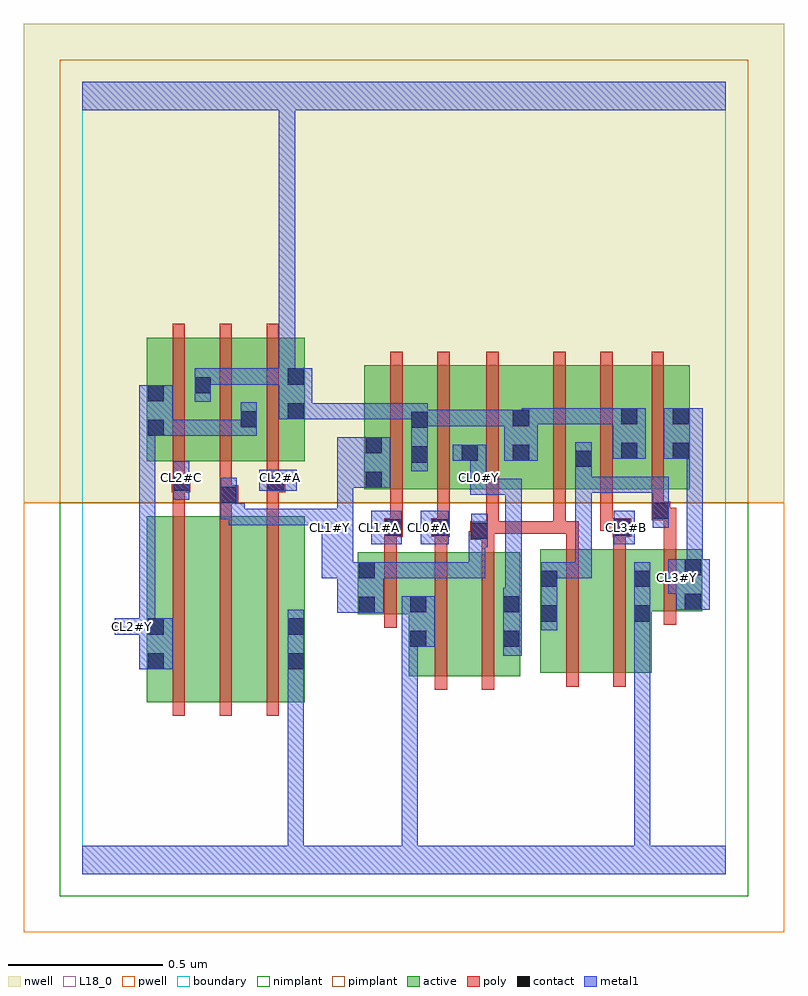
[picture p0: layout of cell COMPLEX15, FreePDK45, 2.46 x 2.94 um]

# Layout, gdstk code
import gdstk
lib = gdstk.Library(unit=1e-6, precision=1e-09)
def R(c, l, rs):  # rectangles x0, y0, x1, y1
    for r in rs: c.add(gdstk.rectangle(r[:2], r[2:], *l))
def A(c, l, x, y, w, h, nx, ny, dx, dy):  # array of equal rectangles
    R(c, l, [(x+i*dx, y+j*dy, x+i*dx+w, y+j*dy+h) for i in range(nx) for j in range(ny)])
active = (1, 0)
pwell = (2, 0)
nwell = (3, 0)
nimplant = (4, 0)
pimplant = (5, 0)
poly = (9, 0)
contact = (10, 0)
metal1 = (11, 0)
L18_0 = (18, 0)
boundary = (235, 0)

complex15 = lib.new_cell('COMPLEX15')
R(complex15, active, [(0.208,0.556,0.268,1.156), (0.208,0.556,0.388,1.156), (0.388,0.556,0.54,1.156), (0.54,0.556,0.72,1.156), (0.66,0.556,0.72,1.156), (1.056,0.64,1.116,1.04), (1.056,0.64,1.236,1.04), (1.236,0.64,1.416,1.04), (1.356,0.64,1.416,1.04), (1.48,0.65,1.66,1.05), (1.66,0.65,1.84,1.05), (1.78,0.65,1.84,1.05), (1.48,0.756,1.54,1.05), (0.89,0.84,0.95,1.04), (0.89,0.84,1.116,1.04), (1.78,0.85,2.004,1.05), (1.944,0.85,2.004,1.05), (0.912,1.244,0.972,1.644), (0.912,1.244,1.12,1.644), (1.06,1.244,1.282,1.644), (1.222,1.244,1.448,1.644), (1.388,1.244,1.65,1.644), (1.59,1.244,1.798,1.644), (1.738,1.244,1.964,1.644), (1.904,1.244,1.964,1.644), (1.59,1.312,1.65,1.644), (1.388,1.316,1.448,1.644), (1.06,1.326,1.12,1.644), (1.222,1.332,1.282,1.644), (0.208,1.334,0.268,1.644), (0.208,1.334,0.42,1.734), (0.36,1.334,0.568,1.734), (0.508,1.334,0.72,1.734), (0.66,1.334,0.72,1.644), (1.738,1.338,1.798,1.644), (0.508,1.44,0.568,1.644), (0.36,1.55,0.42,1.644)])
R(complex15, pwell, [(-0.188,-0.188,2.268,1.2)])
R(complex15, nwell, [(-0.188,1.2,2.268,2.748)])
R(complex15, nimplant, [(-0.072,-0.072,2.152,1.2)])
R(complex15, pimplant, [(-0.072,1.2,2.152,2.632)])
A(complex15, poly, 0.292, 0.512, 0.04, 0.688, 3, 1, 0.152, 0)
A(complex15, poly, 0.292, 1.29, 0.04, 0.488, 3, 1, 0.152, 0)
R(complex15, poly, [(1.14,0.596,1.18,1.084), (1.292,0.596,1.332,1.084), (1.564,0.606,1.604,1.094), (1.716,0.606,1.756,1.094), (0.976,0.796,1.016,1.084), (1.88,0.806,1.92,1.094), (0.976,1.044,1.016,1.13), (1.14,1.044,1.18,1.13), (1.292,1.044,1.332,1.12), (1.564,1.054,1.604,1.14), (1.716,1.054,1.756,1.13), (1.88,1.054,1.92,1.184), (1.254,1.08,1.332,1.14), (0.976,1.09,1.016,1.13), (0.976,1.09,1.016,1.13), (0.976,1.09,1.036,1.15), (1.128,1.09,1.188,1.15), (1.14,1.09,1.18,1.13), (1.14,1.09,1.18,1.13), (1.714,1.09,1.774,1.15), (1.292,1.1,1.332,1.14), (1.292,1.1,1.346,1.14), (1.306,1.1,1.346,1.14), (1.306,1.1,1.346,1.14), (1.306,1.1,1.346,1.24), (1.306,1.1,1.562,1.14), (1.522,1.1,1.562,1.14), (1.522,1.1,1.562,1.14), (1.522,1.1,1.562,1.14), (1.522,1.1,1.562,1.14), (1.522,1.1,1.562,1.24), (1.522,1.1,1.604,1.14), (0.996,1.11,1.036,1.24), (1.148,1.11,1.188,1.24), (1.674,1.11,1.714,1.24), (1.674,1.11,1.754,1.15), (1.714,1.11,1.754,1.15), (1.84,1.144,1.9,1.204), (1.86,1.144,1.9,1.184), (1.86,1.144,1.92,1.184), (0.292,1.16,0.332,1.274), (0.444,1.16,0.484,1.236), (0.596,1.16,0.636,1.274), (1.84,1.164,1.88,1.24), (0.444,1.196,0.504,1.256), (0.996,1.2,1.036,1.688), (1.148,1.2,1.188,1.688), (1.306,1.2,1.346,1.688), (1.522,1.2,1.562,1.688), (1.674,1.2,1.714,1.688), (1.84,1.2,1.88,1.688), (0.444,1.216,0.484,1.256), (0.444,1.216,0.484,1.256), (0.444,1.216,0.484,1.33), (0.29,1.234,0.35,1.294), (0.596,1.234,0.636,1.274), (0.596,1.234,0.636,1.274), (0.596,1.234,0.656,1.294), (0.292,1.254,0.332,1.33), (0.292,1.254,0.332,1.294), (0.292,1.254,0.332,1.294), (0.596,1.254,0.636,1.33)])
R(complex15, contact, [(0.212,0.662,0.264,0.714), (0.664,0.662,0.716,0.714), (1.06,0.734,1.112,0.786), (1.36,0.734,1.412,0.786), (0.212,0.774,0.264,0.826), (0.664,0.774,0.716,0.826), (1.484,0.816,1.536,0.868), (1.784,0.816,1.836,0.868), (0.894,0.844,0.946,0.896), (1.06,0.846,1.112,0.898), (1.36,0.846,1.412,0.898), (1.948,0.854,2,0.906), (1.484,0.928,1.536,0.98), (1.784,0.928,1.836,0.98), (0.894,0.956,0.946,1.008), (1.948,0.966,2,1.018), (1.258,1.084,1.31,1.136), (0.98,1.094,1.032,1.146), (1.132,1.094,1.184,1.146), (1.718,1.094,1.77,1.146), (1.844,1.148,1.896,1.2), (0.448,1.2,0.5,1.252), (0.294,1.238,0.346,1.29), (0.6,1.238,0.652,1.29), (0.916,1.248,0.968,1.3), (1.594,1.316,1.646,1.368), (1.064,1.33,1.116,1.382), (1.226,1.336,1.278,1.388), (1.392,1.336,1.444,1.388), (1.742,1.342,1.794,1.394), (1.908,1.342,1.96,1.394), (0.916,1.36,0.968,1.412), (0.212,1.416,0.264,1.468), (1.064,1.442,1.116,1.494), (0.512,1.444,0.564,1.496), (1.392,1.448,1.444,1.5), (1.742,1.454,1.794,1.506), (1.908,1.454,1.96,1.506), (0.664,1.47,0.716,1.522), (0.212,1.528,0.264,1.58), (0.364,1.554,0.416,1.606), (0.664,1.582,0.716,1.634)])
R(complex15, metal1, [(0,0,2.08,0.092), (0.664,0.04,0.716,0.092), (0.664,0.04,0.716,0.092), (0.664,0.04,0.716,0.092), (0.664,0.04,0.716,0.092), (0.664,0.04,0.716,0.092), (0.664,0.04,0.716,0.092), (0.664,0.04,0.716,0.092), (0.664,0.04,0.716,0.092), (0.664,0.04,0.716,0.686), (1.032,0.04,1.084,0.092), (1.032,0.04,1.084,0.092), (1.032,0.04,1.084,0.092), (1.032,0.04,1.084,0.092), (1.032,0.04,1.084,0.092), (1.032,0.04,1.084,0.092), (1.032,0.04,1.084,0.092), (1.032,0.04,1.084,0.092), (1.032,0.04,1.084,0.092), (1.032,0.04,1.084,0.092), (1.032,0.04,1.084,0.786), (1.784,0.04,1.836,0.092), (1.784,0.04,1.836,0.092), (1.784,0.04,1.836,0.092), (1.784,0.04,1.836,0.092), (1.784,0.04,1.836,0.092), (1.784,0.04,1.836,0.092), (1.784,0.04,1.836,0.092), (1.784,0.04,1.836,0.092), (1.784,0.04,1.836,0.092), (1.784,0.04,1.836,0.092), (1.784,0.04,1.836,0.84), (0.664,0.634,0.716,0.854), (0.184,0.662,0.292,0.826), (1.36,0.706,1.42,0.926), (1.032,0.734,1.084,0.786), (1.032,0.734,1.084,0.786), (1.032,0.734,1.14,0.898), (0.106,0.774,0.236,0.826), (0.184,0.774,0.236,0.826), (0.184,0.774,0.236,0.826), (0.184,0.774,0.236,0.826), (0.184,0.774,0.236,1.468), (1.484,0.788,1.536,1.008), (1.784,0.788,1.836,0.84), (1.784,0.788,1.836,0.84), (1.784,0.788,1.836,1.008), (0.824,0.844,0.974,1.008), (1.92,0.854,2.028,1.018), (1.368,0.874,1.42,1.278), (1.894,0.906,2.006,1.018), (1.946,0.906,1.998,0.958), (0.774,0.956,0.876,1.18), (0.824,0.956,0.876,1.008), (0.824,0.956,0.876,1.008), (0.824,0.956,0.876,1.008), (0.824,0.956,1.14,1.008), (1.088,0.956,1.14,1.008), (1.088,0.956,1.14,1.008), (1.088,0.956,1.14,1.008), (1.088,0.956,1.302,1.008), (1.25,0.956,1.302,1.108), (1.484,0.956,1.536,1.008), (1.484,0.956,1.536,1.008), (1.484,0.956,1.646,1.008), (1.594,0.956,1.646,1.008), (1.594,0.956,1.646,1.008), (1.594,0.956,1.646,1.008), (1.594,0.956,1.646,1.284), (1.954,0.966,2.006,1.394), (1.954,0.966,2.006,1.018), (1.954,0.966,2.006,1.018), (1.25,1.056,1.31,1.108), (1.258,1.056,1.31,1.164), (0.934,1.066,1.032,1.174), (1.094,1.066,1.184,1.174), (1.718,1.066,1.786,1.174), (1.844,1.12,1.896,1.284), (0.474,1.128,0.636,1.18), (0.474,1.128,0.526,1.198), (0.584,1.128,0.636,1.18), (0.584,1.128,0.636,1.18), (0.584,1.128,0.636,1.18), (0.584,1.128,0.826,1.18), (0.824,1.128,0.876,1.18), (0.824,1.128,0.876,1.18), (0.824,1.128,0.876,1.3), (0.448,1.146,0.526,1.198), (0.448,1.146,0.5,1.28), (0.294,1.21,0.346,1.334), (1.254,1.226,1.306,1.278), (1.254,1.226,1.306,1.278), (1.254,1.226,1.306,1.334), (1.254,1.226,1.42,1.278), (1.368,1.226,1.42,1.278), (1.368,1.226,1.42,1.278), (1.368,1.226,1.42,1.278), (1.594,1.232,1.646,1.284), (1.594,1.232,1.766,1.284), (1.594,1.232,1.646,1.34), (1.714,1.232,1.766,1.284), (1.714,1.232,1.766,1.284), (1.714,1.232,1.766,1.284), (1.714,1.232,1.896,1.284), (0.572,1.238,0.694,1.306), (0.824,1.248,0.996,1.412), (1.254,1.282,1.306,1.388), (1.594,1.288,1.646,1.396), (1.064,1.302,1.116,1.522), (1.198,1.336,1.306,1.388), (1.364,1.336,1.472,1.5), (1.714,1.342,1.822,1.506), (1.88,1.342,2.006,1.506), (0.184,1.416,0.292,1.58), (0.24,1.416,0.292,1.468), (0.24,1.416,0.292,1.468), (0.24,1.416,0.402,1.468), (0.35,1.416,0.402,1.468), (0.35,1.416,0.402,1.468), (0.35,1.416,0.402,1.468), (0.35,1.416,0.564,1.468), (0.512,1.416,0.564,1.524), (1.064,1.448,1.116,1.5), (1.064,1.448,1.116,1.5), (1.064,1.448,1.302,1.5), (1.25,1.448,1.302,1.5), (1.25,1.448,1.302,1.5), (1.25,1.448,1.302,1.5), (1.25,1.448,1.416,1.5), (1.42,1.448,1.472,1.5), (1.42,1.448,1.472,1.506), (1.42,1.454,1.656,1.506), (1.604,1.454,1.656,1.506), (1.604,1.454,1.656,1.506), (1.604,1.454,1.656,1.506), (1.604,1.454,1.766,1.506), (1.714,1.454,1.766,1.506), (1.714,1.454,1.766,1.506), (0.636,1.47,0.744,1.634), (0.692,1.47,0.854,1.522), (0.802,1.47,0.854,1.522), (0.802,1.47,0.854,1.522), (0.802,1.47,0.854,1.522), (0.802,1.47,1.116,1.522), (0.364,1.526,0.416,1.634), (0.364,1.582,0.416,1.634), (0.364,1.582,0.416,1.634), (0.364,1.582,0.526,1.634), (0.474,1.582,0.526,1.634), (0.474,1.582,0.688,1.634), (0.636,1.582,0.688,1.634), (0.636,1.582,0.688,1.634), (0.636,1.582,0.688,1.634), (0.636,1.582,0.688,1.634), (0.636,1.582,0.688,1.634), (0.636,1.582,0.688,1.634), (0.636,1.582,0.688,1.634), (0.636,1.582,0.688,1.634), (0.636,1.582,0.688,1.634), (0.636,1.582,0.688,1.634), (0.636,1.582,0.688,1.634), (0.636,1.582,0.688,1.634), (0.636,1.582,0.688,1.634), (0.636,1.582,0.688,1.634), (0.636,1.582,0.688,1.634), (0.636,1.582,0.688,1.634), (0.636,1.582,0.688,1.634), (0.636,1.582,0.688,1.634), (0.636,1.582,0.688,2.52), (0,2.468,2.08,2.56)])
A(complex15, L18_0, 0.774, 1.094, 0.052, 0.052, 3, 1, 0.16, 0)
R(complex15, L18_0, [(0,0,2.08,0.092), (0.664,0.04,0.716,0.092), (0.664,0.04,0.716,0.092), (0.664,0.04,0.716,0.092), (0.664,0.04,0.716,0.092), (0.664,0.04,0.716,0.092), (0.664,0.04,0.716,0.092), (0.664,0.04,0.716,0.092), (0.664,0.04,0.716,0.092), (0.664,0.04,0.716,0.686), (1.032,0.04,1.084,0.092), (1.032,0.04,1.084,0.092), (1.032,0.04,1.084,0.092), (1.032,0.04,1.084,0.092), (1.032,0.04,1.084,0.092), (1.032,0.04,1.084,0.092), (1.032,0.04,1.084,0.092), (1.032,0.04,1.084,0.092), (1.032,0.04,1.084,0.092), (1.032,0.04,1.084,0.092), (1.032,0.04,1.084,0.786), (1.784,0.04,1.836,0.092), (1.784,0.04,1.836,0.092), (1.784,0.04,1.836,0.092), (1.784,0.04,1.836,0.092), (1.784,0.04,1.836,0.092), (1.784,0.04,1.836,0.092), (1.784,0.04,1.836,0.092), (1.784,0.04,1.836,0.092), (1.784,0.04,1.836,0.092), (1.784,0.04,1.836,0.092), (1.784,0.04,1.836,0.84), (0.664,0.634,0.716,0.854), (0.184,0.662,0.292,0.826), (1.36,0.706,1.42,0.926), (1.032,0.734,1.14,0.898), (1.032,0.734,1.084,0.786), (1.032,0.734,1.084,0.786), (0.106,0.774,0.236,0.826), (0.134,0.774,0.186,0.826), (0.184,0.774,0.236,0.826), (0.184,0.774,0.236,0.826), (0.184,0.774,0.236,0.826), (0.184,0.774,0.236,1.468), (1.784,0.788,1.836,0.84), (1.784,0.788,1.836,0.84), (1.784,0.788,1.836,1.008), (0.824,0.844,0.974,1.008), (1.92,0.854,2.028,1.018), (1.368,0.874,1.42,1.278), (1.894,0.906,2.006,1.018), (1.946,0.906,1.998,0.958), (1.894,0.934,1.946,0.986), (0.774,0.956,0.876,1.18), (0.824,0.956,0.876,1.008), (0.824,0.956,0.876,1.008), (0.824,0.956,0.876,1.008), (0.824,0.956,1.14,1.008), (1.088,0.956,1.14,1.008), (1.088,0.956,1.14,1.008), (1.088,0.956,1.14,1.008), (1.088,0.956,1.302,1.008), (1.25,0.956,1.302,1.108), (1.954,0.966,2.006,1.018), (1.954,0.966,2.006,1.018), (1.954,0.966,2.006,1.394), (1.25,1.056,1.31,1.108), (1.258,1.056,1.31,1.164), (0.934,1.066,1.032,1.174), (1.094,1.066,1.184,1.174), (1.718,1.066,1.786,1.174), (1.734,1.094,1.786,1.146), (0.474,1.128,0.636,1.18), (0.474,1.128,0.526,1.198), (0.584,1.128,0.636,1.18), (0.584,1.128,0.636,1.18), (0.584,1.128,0.636,1.18), (0.584,1.128,0.826,1.18), (0.824,1.128,0.876,1.18), (0.824,1.128,0.876,1.18), (0.824,1.128,0.876,1.3), (0.448,1.146,0.5,1.28), (0.448,1.146,0.526,1.198), (0.294,1.21,0.346,1.334), (1.254,1.226,1.306,1.278), (1.254,1.226,1.306,1.278), (1.254,1.226,1.306,1.334), (1.254,1.226,1.42,1.278), (1.368,1.226,1.42,1.278), (1.368,1.226,1.42,1.278), (1.368,1.226,1.42,1.278), (0.572,1.238,0.694,1.306), (0.824,1.248,0.996,1.412), (0.294,1.254,0.346,1.306), (0.614,1.254,0.666,1.306), (1.254,1.254,1.306,1.306), (1.254,1.282,1.306,1.388), (1.064,1.302,1.116,1.522), (1.198,1.336,1.306,1.388), (1.364,1.336,1.472,1.5), (1.714,1.342,1.822,1.506), (1.88,1.342,2.006,1.506), (0.184,1.416,0.292,1.58), (0.24,1.416,0.292,1.468), (0.24,1.416,0.292,1.468), (0.24,1.416,0.402,1.468), (0.35,1.416,0.402,1.468), (0.35,1.416,0.402,1.468), (0.35,1.416,0.402,1.468), (0.35,1.416,0.564,1.468), (0.512,1.416,0.564,1.524), (1.064,1.448,1.116,1.5), (1.064,1.448,1.116,1.5), (1.064,1.448,1.302,1.5), (1.25,1.448,1.302,1.5), (1.25,1.448,1.302,1.5), (1.25,1.448,1.302,1.5), (1.25,1.448,1.416,1.5), (1.42,1.448,1.472,1.5), (1.42,1.448,1.472,1.506), (1.42,1.454,1.656,1.506), (1.604,1.454,1.656,1.506), (1.604,1.454,1.656,1.506), (1.604,1.454,1.656,1.506), (1.604,1.454,1.766,1.506), (1.714,1.454,1.766,1.506), (1.714,1.454,1.766,1.506), (0.636,1.47,0.744,1.634), (0.692,1.47,0.854,1.522), (0.802,1.47,0.854,1.522), (0.802,1.47,0.854,1.522), (0.802,1.47,0.854,1.522), (0.802,1.47,1.116,1.522), (0.364,1.526,0.416,1.634), (0.364,1.582,0.416,1.634), (0.364,1.582,0.416,1.634), (0.364,1.582,0.526,1.634), (0.474,1.582,0.526,1.634), (0.474,1.582,0.688,1.634), (0.636,1.582,0.688,1.634), (0.636,1.582,0.688,1.634), (0.636,1.582,0.688,1.634), (0.636,1.582,0.688,1.634), (0.636,1.582,0.688,1.634), (0.636,1.582,0.688,1.634), (0.636,1.582,0.688,1.634), (0.636,1.582,0.688,1.634), (0.636,1.582,0.688,1.634), (0.636,1.582,0.688,1.634), (0.636,1.582,0.688,1.634), (0.636,1.582,0.688,1.634), (0.636,1.582,0.688,1.634), (0.636,1.582,0.688,1.634), (0.636,1.582,0.688,1.634), (0.636,1.582,0.688,1.634), (0.636,1.582,0.688,1.634), (0.636,1.582,0.688,1.634), (0.636,1.582,0.688,2.52), (0,2.468,2.08,2.56)])
R(complex15, boundary, [(0,0,2.08,2.56)])
complex15.add(gdstk.Label('CL0#A', (1.12,1.12), layer=11, texttype=0))
complex15.add(gdstk.Label('CL0#Y', (1.28,1.28), layer=11, texttype=0))
complex15.add(gdstk.Label('CL1#A', (0.96,1.12), layer=11, texttype=0))
complex15.add(gdstk.Label('CL1#Y', (0.8,1.12), layer=11, texttype=0))
complex15.add(gdstk.Label('CL2#A', (0.64,1.28), layer=11, texttype=0))
complex15.add(gdstk.Label('CL2#C', (0.32,1.28), layer=11, texttype=0))
complex15.add(gdstk.Label('CL2#Y', (0.16,0.8), layer=11, texttype=0))
complex15.add(gdstk.Label('CL3#B', (1.76,1.12), layer=11, texttype=0))
complex15.add(gdstk.Label('CL3#Y', (1.92,0.96), layer=11, texttype=0))

lib.write_gds('COMPLEX15.gds')
